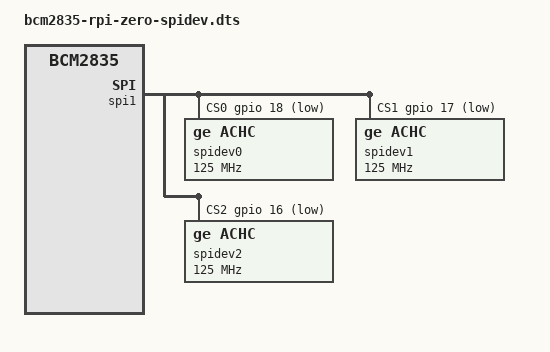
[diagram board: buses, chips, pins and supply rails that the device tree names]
/*
/dts-v1/;
/plugin/;

#include <dt-bindings/pinctrl/bcm2835.h>
*/
#include "bcm2835-rpi-zero.dts"

/*
/ {
	compatible = "brcm,bcm2835";

	fragment@0 {
		target = <&gpio>;
		__overlay__ {
	*/
		&gpio {
			// override the default pinctrl-0
			pinctrl-0 = <&spi1_gpio16>;

			spi1_gpio16: spi1_gpio16 {
				brcm,pins = <16 17 18>;
				/* the bcm aux spi driver is not setup to handle CS pins, setup as gpios instead */
				brcm,function = <BCM2835_FSEL_GPIO_OUT>;
			};
			spi1_gpio_data: spi1_gpio_data {
				brcm,pins = <19 20 21>;
				brcm,function = <BCM2835_FSEL_ALT4>;
			};
		};
/*
	};

	fragment@1 {
		target = <&spi1>;
		frag1: __overlay__ {
*/
&spi1 {
			#address-cells = <1>;
			#size-cells = <0>;
			pinctrl-names = "default";
			pinctrl-0 = <&spi1_gpio_data>;
			cs-gpios = <&gpio 18 1>, <&gpio 17 1>, <&gpio 16 1>;
			status = "okay";

			spidev0: spidev@0 {
				compatible = "ge,achc"; /* avoid the need to patch the kernel, abuse the spidev compatible set */
				reg = <0>; /* CE0 */
				#address-cells = <1>;
				#size-cells = <0>;
				spi-max-frequency = <125000000>;
				status = "okay";
			};

			spidev1: spidev@1 {
				compatible = "ge,achc";
				reg = <1>; /* CE1 */
				#address-cells = <1>;
				#size-cells = <0>;
				spi-max-frequency = <125000000>;
				status = "okay";
			};

			spidev2: spidev@2 {
				compatible = "ge,achc";
				reg = <2>; /* CE2 */
				#address-cells = <1>;
				#size-cells = <0>;
				spi-max-frequency = <125000000>;
				status = "okay";
			};
		};
/*
	};
};
*/
